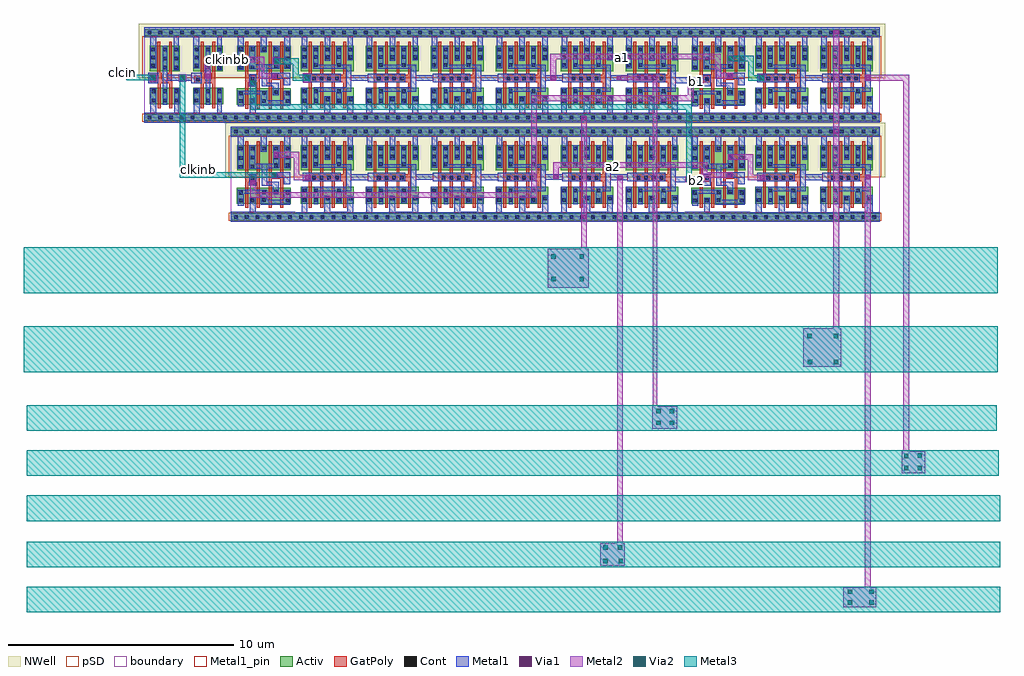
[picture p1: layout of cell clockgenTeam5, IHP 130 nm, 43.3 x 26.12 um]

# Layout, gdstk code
import gdstk
lib = gdstk.Library(unit=1e-6, precision=1e-09)
def R(c, l, rs):  # rectangles x0, y0, x1, y1
    for r in rs: c.add(gdstk.rectangle(r[:2], r[2:], *l))
def A(c, l, x, y, w, h, nx, ny, dx, dy):  # array of equal rectangles
    R(c, l, [(x+i*dx, y+j*dy, x+i*dx+w, y+j*dy+h) for i in range(nx) for j in range(ny)])
def P(c, l, *ps):  # polygons
    for p in ps: c.add(gdstk.Polygon(p, *l))
Activ = (1, 0)
GatPoly = (5, 0)
Cont = (6, 0)
Metal1 = (8, 0)
Metal1_pin = (8, 2)
Metal2 = (10, 0)
pSD = (14, 0)
Via1 = (19, 0)
Via2 = (29, 0)
Metal3 = (30, 0)
NWell = (31, 0)
boundary = (189, 4)

sg13g2_inv_2 = lib.new_cell('sg13g2_inv_2')
R(sg13g2_inv_2, Activ, [(0,-0.15,1.92,0.15), (0.265,0.59,1.59,1.33), (0.255,2.06,1.58,3.18), (0,3.63,1.92,3.93)])
P(sg13g2_inv_2, GatPoly, [(0.605,0.41),(0.605,1.52),(0.305,1.52),(0.305,1.85),(0.595,1.85),(0.595,3.36),(0.725,3.36),(0.725,1.985),(0.785,1.985),(0.785,1.67),(1.055,1.67),(1.055,1.985),(1.11,1.985),(1.11,3.36),(1.24,3.36),(1.24,1.585),(1.245,1.585),(1.245,0.41),(1.115,0.41),(1.115,1.52),(0.735,1.52),(0.735,0.41)])
A(sg13g2_inv_2, Cont, 0.84, 2.145, 0.16, 0.16, 1, 3, 0, 0.395)
A(sg13g2_inv_2, Cont, 1.35, 2.145, 0.16, 0.16, 1, 3, 0, 0.395)
R(sg13g2_inv_2, Cont, [(0.16,-0.08,0.32,0.08), (0.16,-0.08,0.32,0.08), (0.64,-0.08,0.8,0.08), (0.64,-0.08,0.8,0.08), (1.12,-0.08,1.28,0.08), (1.12,-0.08,1.28,0.08), (1.6,-0.08,1.76,0.08), (1.6,-0.08,1.76,0.08), (0.335,0.675,0.495,0.835), (0.845,0.675,1.005,0.835), (1.36,0.675,1.52,0.835), (0.335,1.09,0.495,1.25), (0.845,1.09,1.005,1.25), (1.36,1.09,1.52,1.25), (0.39,1.605,0.55,1.765), (0.325,2.235,0.485,2.395), (0.325,2.59,0.485,2.75), (0.325,2.935,0.485,3.095), (0.16,3.7,0.32,3.86), (0.16,3.7,0.32,3.86), (0.64,3.7,0.8,3.86), (0.64,3.7,0.8,3.86), (1.12,3.7,1.28,3.86), (1.12,3.7,1.28,3.86), (1.6,3.7,1.76,3.86), (1.6,3.7,1.76,3.86)])
R(sg13g2_inv_2, Metal1, [(0.825,0.57,1.02,3.18), (0.18,1.52,0.635,2)])
P(sg13g2_inv_2, Metal1, [(0,-0.22),(0,0.22),(0.285,0.22),(0.285,1.3),(0.545,1.3),(0.545,0.22),(1.34,0.22),(1.34,1.305),(1.54,1.305),(1.54,0.22),(1.92,0.22),(1.92,-0.22)],
  [(1.32,2.095),(1.32,3.56),(0.535,3.56),(0.535,2.185),(0.275,2.185),(0.275,3.56),(0,3.56),(0,4),(1.92,4),(1.92,3.56),(1.535,3.56),(1.535,2.095)])
R(sg13g2_inv_2, Metal1_pin, [(0,-0.22,1.92,0.22), (0.825,0.57,1.02,3.18), (0.18,1.52,0.635,2), (0,3.56,1.92,4)])
R(sg13g2_inv_2, pSD, [(-0.07,-0.18,1.99,0.18), (-0.07,1.76,1.99,3.6)])
R(sg13g2_inv_2, NWell, [(-0.24,1.75,2.16,4.17)])
R(sg13g2_inv_2, boundary, [(0,0,1.92,3.78)])
sg13g2_inv_2.add(gdstk.Label('A', (0.415,1.75), layer=8, texttype=25))
sg13g2_inv_2.add(gdstk.Label('Y', (0.925,1.855), layer=8, texttype=25))
sg13g2_inv_2.add(gdstk.Label('VDD', (0.935,3.785), layer=8, texttype=25))
sg13g2_inv_2.add(gdstk.Label('VSS', (0.89,0), layer=8, texttype=25))

sg13g2_nand2_2 = lib.new_cell('sg13g2_nand2_2')
R(sg13g2_nand2_2, Activ, [(0,-0.15,2.88,0.15), (0.285,0.575,2.67,1.295), (0.3,2.06,2.68,3.18), (0,3.63,2.88,3.93)])
P(sg13g2_nand2_2, GatPoly, [(1.69,0.395),(1.69,3.36),(1.82,3.36),(1.82,1.99),(2.2,1.99),(2.2,3.36),(2.33,3.36),(2.33,0.395),(2.2,0.395),(2.2,1.685),(1.82,1.685),(1.82,0.395)],
  [(0.66,0.395),(0.66,3.36),(0.79,3.36),(0.79,1.875),(1.17,1.875),(1.17,3.36),(1.3,3.36),(1.3,0.395),(1.17,0.395),(1.17,1.565),(0.79,1.565),(0.79,0.395)])
A(sg13g2_nand2_2, Cont, 1.6, -0.08, 0.16, 0.16, 3, 2, 0.48, 3.78)
A(sg13g2_nand2_2, Cont, 0.9, 2.15, 0.16, 0.16, 1, 3, 0, 0.4)
R(sg13g2_nand2_2, Cont, [(0.16,-0.08,0.32,0.08), (0.16,-0.08,0.32,0.08), (0.64,-0.08,0.8,0.08), (0.64,-0.08,0.8,0.08), (1.12,-0.08,1.28,0.08), (1.12,-0.08,1.28,0.08), (1.6,-0.08,1.76,0.08), (0.9,0.645,1.06,0.805), (0.38,0.65,0.54,0.81), (2.44,0.65,2.6,0.81), (1.41,0.66,1.57,0.82), (0.375,0.99,0.535,1.15), (2.44,0.99,2.6,1.15), (1.41,1.005,1.57,1.165), (1.93,1.05,2.09,1.21), (0.9,1.64,1.06,1.8), (1.93,1.76,2.09,1.92), (0.37,2.14,0.53,2.3), (1.93,2.21,2.09,2.37), (2.44,2.21,2.6,2.37), (0.37,2.54,0.53,2.7), (1.93,2.55,2.09,2.71), (2.44,2.55,2.6,2.71), (0.37,2.95,0.53,3.11), (1.41,2.95,1.57,3.11), (1.93,2.95,2.09,3.11), (2.44,2.95,2.6,3.11), (0.16,3.7,0.32,3.86), (0.16,3.7,0.32,3.86), (0.64,3.7,0.8,3.86), (0.64,3.7,0.8,3.86), (1.12,3.7,1.28,3.86), (1.12,3.7,1.28,3.86), (1.6,3.7,1.76,3.86)])
R(sg13g2_nand2_2, Metal1, [(0.82,1.39,1.15,1.92)])
P(sg13g2_nand2_2, Metal1, [(0,-0.22),(0,0.22),(0.85,0.22),(0.85,0.855),(1.11,0.855),(1.11,0.22),(2.88,0.22),(2.88,-0.22)],
  [(0.325,0.5),(0.325,1.2),(1.62,1.2),(1.62,0.76),(2.37,0.76),(2.37,1.2),(2.65,1.2),(2.65,0.53),(1.35,0.53),(1.35,1.035),(0.585,1.035),(0.585,0.5)],
  [(1.88,1),(1.88,1.39),(1.38,1.39),(1.38,2.14),(0.84,2.14),(0.84,3.18),(1.1,3.18),(1.1,2.36),(1.89,2.36),(1.89,3.18),(2.15,3.18),(2.15,2.16),(1.62,2.16),(1.62,1.55),(2.14,1.55),(2.14,1)],
  [(2.37,1.44),(2.37,1.73),(1.815,1.73),(1.815,1.98),(2.645,1.98),(2.645,1.44)],
  [(0.32,2.125),(0.32,3.56),(0,3.56),(0,4),(2.88,4),(2.88,3.56),(2.65,3.56),(2.65,2.16),(2.39,2.16),(2.39,3.56),(1.61,3.56),(1.61,2.9),(1.35,2.9),(1.35,3.56),(0.58,3.56),(0.58,2.125)])
R(sg13g2_nand2_2, Metal1_pin, [(0,-0.22,2.88,0.22), (0.82,1.39,1.15,1.92), (1.38,1.39,1.62,2.36), (1.815,1.73,2.645,1.98), (0,3.56,2.88,4)])
R(sg13g2_nand2_2, pSD, [(-0.07,-0.18,2.95,0.18), (-0.07,1.76,2.95,3.6)])
R(sg13g2_nand2_2, NWell, [(-0.24,1.75,3.12,4.17)])
R(sg13g2_nand2_2, boundary, [(0,0,2.88,3.78)])
sg13g2_nand2_2.add(gdstk.Label('VSS', (0.51,0), layer=8, texttype=25))
sg13g2_nand2_2.add(gdstk.Label('A', (2.01,1.84), layer=8, texttype=25))
sg13g2_nand2_2.add(gdstk.Label('VDD', (0.97,3.78), layer=8, texttype=25))
sg13g2_nand2_2.add(gdstk.Label('B', (0.98,1.655), layer=8, texttype=25))
sg13g2_nand2_2.add(gdstk.Label('Y', (1.48,2.105), layer=8, texttype=25))

sg13g2_inv_4 = lib.new_cell('sg13g2_inv_4')
R(sg13g2_inv_4, Activ, [(0,-0.15,2.88,0.15), (0.245,0.59,2.585,1.33), (0.245,2.06,2.585,3.18), (0,3.63,2.88,3.93)])
P(sg13g2_inv_4, GatPoly, [(0.585,0.41),(0.585,3.36),(0.715,3.36),(0.715,1.9),(1.095,1.9),(1.095,3.36),(1.225,3.36),(1.225,1.9),(1.605,1.9),(1.605,3.36),(1.735,3.36),(1.735,1.9),(2.115,1.9),(2.115,3.36),(2.245,3.36),(2.245,0.41),(2.115,0.41),(2.115,1.57),(1.735,1.57),(1.735,0.41),(1.605,0.41),(1.605,1.57),(1.225,1.57),(1.225,0.41),(1.095,0.41),(1.095,1.57),(0.715,1.57),(0.715,0.41)])
A(sg13g2_inv_4, Cont, 0.735, 1.655, 0.16, 0.16, 4, 1, 0.34, 0)
A(sg13g2_inv_4, Cont, 0.315, 2.945, 0.16, 0.16, 5, 1, 0.51, 0)
R(sg13g2_inv_4, Cont, [(0.16,-0.08,0.32,0.08), (0.16,-0.08,0.32,0.08), (0.64,-0.08,0.8,0.08), (0.64,-0.08,0.8,0.08), (1.12,-0.08,1.28,0.08), (1.12,-0.08,1.28,0.08), (1.6,-0.08,1.76,0.08), (1.6,-0.08,1.76,0.08), (2.08,-0.08,2.24,0.08), (2.08,-0.08,2.24,0.08), (2.56,-0.08,2.72,0.08), (2.56,-0.08,2.72,0.08), (0.315,0.665,0.475,0.825), (0.825,0.665,0.985,0.825), (1.845,0.665,2.005,0.825), (1.335,0.735,1.495,0.895), (2.355,0.735,2.515,0.895), (0.315,1.09,0.475,1.25), (0.825,1.09,0.985,1.25), (1.845,1.09,2.005,1.25), (0.315,2.255,0.475,2.415), (0.825,2.255,0.985,2.415), (1.845,2.255,2.005,2.415), (1.335,2.595,1.495,2.755), (2.355,2.595,2.515,2.755), (0.315,2.605,0.475,2.765), (0.825,2.605,0.985,2.765), (1.845,2.605,2.005,2.765), (0.16,3.7,0.32,3.86), (0.16,3.7,0.32,3.86), (0.64,3.7,0.8,3.86), (0.64,3.7,0.8,3.86), (1.12,3.7,1.28,3.86), (1.12,3.7,1.28,3.86), (1.6,3.7,1.76,3.86), (1.6,3.7,1.76,3.86), (2.08,3.7,2.24,3.86), (2.08,3.7,2.24,3.86), (2.56,3.7,2.72,3.86), (2.56,3.7,2.72,3.86)])
R(sg13g2_inv_4, Metal1, [(0.325,1.57,2,1.95)])
P(sg13g2_inv_4, Metal1, [(0.285,2.19),(0.285,3.56),(0,3.56),(0,4),(2.88,4),(2.88,3.56),(2.55,3.56),(2.55,2.54),(2.32,2.54),(2.32,3.56),(1.54,3.56),(1.54,2.53),(1.3,2.53),(1.3,3.56),(0.53,3.56),(0.53,2.19)],
  [(0,-0.21),(0,0.21),(0.27,0.21),(0.27,1.325),(0.52,1.325),(0.52,0.21),(1.28,0.21),(1.28,0.945),(1.55,0.945),(1.55,0.22),(2.305,0.22),(2.305,0.95),(2.565,0.95),(2.565,0.21),(2.88,0.21),(2.88,-0.21)],
  [(0.815,0.57),(0.815,1.34),(2.245,1.34),(2.245,2.17),(0.8,2.17),(0.8,3.18),(1.015,3.18),(1.015,2.34),(1.815,2.34),(1.815,3.175),(2.03,3.175),(2.03,2.34),(2.475,2.34),(2.475,1.145),(2.06,1.145),(2.06,0.595),(1.805,0.595),(1.805,1.145),(1.01,1.145),(1.01,0.57)])
R(sg13g2_inv_4, Metal1_pin, [(0,-0.21,2.88,0.21), (2.245,1.145,2.475,2.34), (0.325,1.57,2,1.95), (0,3.56,2.88,4)])
R(sg13g2_inv_4, pSD, [(-0.07,-0.18,2.95,0.18), (-0.07,1.76,2.95,3.6)])
R(sg13g2_inv_4, NWell, [(-0.24,1.75,3.12,4.17)])
R(sg13g2_inv_4, boundary, [(0,0,2.88,3.78)])
sg13g2_inv_4.add(gdstk.Label('VSS', (1.405,0.005), layer=8, texttype=25))
sg13g2_inv_4.add(gdstk.Label('Y', (2.36,1.755), layer=8, texttype=25))
sg13g2_inv_4.add(gdstk.Label('VDD', (1.925,3.8), layer=8, texttype=25))
sg13g2_inv_4.add(gdstk.Label('A', (1.12,1.76), layer=8, texttype=25))

clockgenteam5 = lib.new_cell('clockgenTeam5')
R(clockgenteam5, Metal2, [(10.945,0.035,11.245,0.31), (-7.43,0.215,-7.17,0.49), (-8.425,4.275,-8.14,4.525), (-6.015,4.445,-5.68,4.875), (-12.825,4.505,-12.5,4.835), (-11.525,4.505,-11.2,4.835), (14.195,4.535,14.495,4.81), (18.895,4.535,19.195,4.81), (7.905,4.568,9.7,4.768), (12.795,5.385,13.095,5.66)])
P(clockgenteam5, Metal2, [(-7.365,5.245),(-7.365,5.59),(-7.32,5.59),(-7.03,5.59),(-7.03,5.245)],
  [(20.545,-12.87),(20.545,-11.905),(20.62,-11.905),(20.62,4.55),(18.91,4.55),(18.91,4.8),(20.87,4.8),(20.87,-11.905),(21.595,-11.905),(21.595,-12.87)],
  [(17.95,-18.825),(17.95,-17.945),(18.915,-17.945),(18.915,0.365),(19.165,0.365),(19.165,-17.945),(19.425,-17.945),(19.425,-18.825)],
  [(16.175,-8.15),(16.175,-6.44),(17.515,-6.44),(17.515,6.785),(17.765,6.785),(17.765,-6.44),(17.87,-6.44),(17.87,-8.15)],
  [(9.48,-10.905),(9.48,-9.91),(9.508,-9.91),(9.508,4.765),(9.708,4.765),(9.708,-9.91),(10.585,-9.91),(10.585,-10.905)],
  [(7.175,-16.975),(7.175,-15.975),(7.925,-15.975),(7.925,0.33),(8.175,0.33),(8.175,-15.975),(8.245,-15.975),(8.245,-16.975)],
  [(4.83,-4.64),(4.83,-2.92),(6.325,-2.92),(6.325,-1.425),(6.575,-1.425),(6.575,-2.92),(6.66,-2.92),(6.66,-4.64)],
  [(-12.495,4.58),(-12.495,4.58),(-12.495,4.58),(-12.495,4.58)],
  [(-11.195,4.58),(-11.195,4.58),(-11.195,4.58),(-11.195,4.58)])
R(clockgenteam5, Via1, [(6.35,-1.607,6.54,-1.417), (-8.34,-0.075,-8.15,0.115), (11,0.08,11.19,0.27), (7.95,0.143,8.14,0.333), (-5.91,0.155,-5.72,0.345), (14.25,0.165,14.44,0.355), (5.1,0.175,5.29,0.365), (18.95,0.175,19.14,0.365), (-7.38,0.26,-7.19,0.45), (12.8,0.265,12.99,0.455), (12.85,1.065,13.04,1.255), (-7.31,1.155,-7.12,1.345), (17.55,2.193,17.74,2.383), (6.35,2.793,6.54,2.983), (-8.345,4.33,-8.155,4.52), (11.095,4.465,11.285,4.655), (7.9,4.568,8.09,4.758), (5,4.575,5.19,4.765), (18.95,4.575,19.14,4.765), (-12.77,4.58,-12.58,4.77), (-11.47,4.58,-11.28,4.77), (-5.945,4.58,-5.755,4.77), (14.25,4.58,14.44,4.77), (-10.325,4.655,-10.135,4.845), (-7.4,4.655,-7.21,4.845), (12.8,4.665,12.99,4.855), (-7.295,5.305,-7.105,5.495), (12.85,5.43,13.04,5.62), (17.55,6.593,17.74,6.783)])
P(clockgenteam5, Via1, [(-12.62,4.645),(-12.62,4.645),(-12.62,4.645),(-12.62,4.645)],
  [(-11.32,4.645),(-11.32,4.645),(-11.32,4.645),(-11.32,4.645)])
R(clockgenteam5, Via2, [(18.153,-18.705,18.343,-18.515), (19.103,-18.705,19.293,-18.515), (18.153,-18.23,18.343,-18.04), (19.103,-18.23,19.293,-18.04), (7.303,-16.87,7.493,-16.68), (7.978,-16.87,8.168,-16.68), (7.303,-16.27,7.493,-16.08), (7.953,-16.27,8.143,-16.08), (20.653,-12.735,20.843,-12.545), (21.253,-12.735,21.443,-12.545), (20.653,-12.205,20.843,-12.015), (21.253,-12.18,21.443,-11.99), (9.653,-10.735,9.843,-10.545), (10.253,-10.735,10.443,-10.545), (9.653,-10.205,9.843,-10.015), (10.253,-10.205,10.443,-10.015), (16.378,-8.03,16.568,-7.84), (17.528,-8.03,17.718,-7.84), (16.353,-6.88,16.543,-6.69), (17.528,-6.88,17.718,-6.69), (5.003,-4.355,5.193,-4.165), (6.253,-4.355,6.443,-4.165), (5.003,-3.355,5.193,-3.165), (6.253,-3.355,6.443,-3.165), (-7.38,0.26,-7.19,0.45), (-8.345,4.33,-8.155,4.52), (-12.77,4.58,-12.58,4.77), (-11.47,4.58,-11.28,4.77), (-5.945,4.58,-5.755,4.77), (14.25,4.58,14.44,4.77), (-7.295,5.305,-7.105,5.495), (12.85,5.43,13.04,5.62)])
P(clockgenteam5, Via2, [(11,0.08),(11,0.27),(11.19,0.27),(11.19,0.165),(11.19,0.08)])
R(clockgenteam5, Metal3, [(-18.4,-8.385,24.805,-6.35), (-18.4,-4.885,24.805,-2.85)])
P(clockgenteam5, Metal3, [(-18.285,-10.995),(-18.285,-9.85),(24.765,-9.85),(24.765,-10.32),(24.765,-10.995)],
  [(-18.285,-12.995),(-18.285,-11.85),(24.85,-11.85),(24.85,-12.41),(24.85,-12.995)],
  [(-18.285,-19.05),(-18.285,-17.905),(24.905,-17.905),(24.905,-18.38),(24.905,-19.05)],
  [(-18.285,-17.05),(-18.285,-15.905),(24.905,-15.905),(24.905,-16.38),(24.905,-17.05)],
  [(-18.285,-15.005),(-18.285,-13.86),(24.905,-13.86),(24.905,-14.335),(24.905,-15.005)])
clockgenteam5.add(gdstk.FlexPath([(17.205,0.26),(16.145,0.26)], 0.25, ends="flush", simple_path=True, layer=8, datatype=0))  # Metal1
clockgenteam5.add(gdstk.FlexPath([(-10.77,4.675),(-12.175,4.675),(-12.175,4.675)], 0.25, ends="flush", simple_path=True, layer=8, datatype=0))  # Metal1
clockgenteam5.add(gdstk.FlexPath([(5.71,0.27),(4.63,0.27)], 0.25, ends="flush", simple_path=True, layer=8, datatype=0))  # Metal1
clockgenteam5.add(gdstk.FlexPath([(2.83,0.26),(1.755,0.26)], 0.25, ends="flush", simple_path=True, layer=8, datatype=0))  # Metal1
clockgenteam5.add(gdstk.FlexPath([(11.945,0.165),(10.395,0.165)], 0.25, ends="flush", simple_path=True, layer=8, datatype=0))  # Metal1
clockgenteam5.add(gdstk.FlexPath([(0,0.27),(-1.115,0.27)], 0.25, ends="flush", simple_path=True, layer=8, datatype=0))  # Metal1
clockgenteam5.add(gdstk.FlexPath([(-2.95,0.255),(-4.045,0.255)], 0.25, ends="flush", simple_path=True, layer=8, datatype=0))  # Metal1
clockgenteam5.add(gdstk.FlexPath([(8.56,0.26),(7.52,0.26)], 0.25, ends="flush", simple_path=True, layer=8, datatype=0))  # Metal1
clockgenteam5.add(gdstk.FlexPath([(17.215,4.655),(16.125,4.655)], 0.25, ends="flush", simple_path=True, layer=8, datatype=0))  # Metal1
clockgenteam5.add(gdstk.FlexPath([(10.345,4.56),(11.975,4.56)], 0.25, ends="flush", simple_path=True, layer=8, datatype=0))  # Metal1
clockgenteam5.add(gdstk.FlexPath([(-3,4.665),(-4.1,4.665)], 0.25, ends="flush", simple_path=True, layer=8, datatype=0))  # Metal1
clockgenteam5.add(gdstk.FlexPath([(-0.125,4.665),(-1.225,4.665)], 0.25, ends="flush", simple_path=True, layer=8, datatype=0))  # Metal1
clockgenteam5.add(gdstk.FlexPath([(2.775,4.665),(1.675,4.665)], 0.25, ends="flush", simple_path=True, layer=8, datatype=0))  # Metal1
clockgenteam5.add(gdstk.FlexPath([(5.675,4.665),(4.575,4.665)], 0.25, ends="flush", simple_path=True, layer=8, datatype=0))  # Metal1
clockgenteam5.add(gdstk.FlexPath([(8.55,4.665),(7.45,4.665)], 0.25, ends="flush", simple_path=True, layer=8, datatype=0))  # Metal1
clockgenteam5.add(gdstk.FlexPath([(12.835,1.15),(13.84,1.15),(13.84,0.245),(14.205,0.245),(14.495,0.245)], 0.25, ends="flush", simple_path=True, layer=10, datatype=0))  # Metal2
clockgenteam5.add(gdstk.FlexPath([(-8.245,0.12),(-8.245,-0.655)], 0.25, ends="flush", simple_path=True, layer=10, datatype=0))  # Metal2
clockgenteam5.add(gdstk.FlexPath([(-7.325,1.255),(-6.31,1.255),(-6.31,0.245),(-5.67,0.245)], 0.25, ends="flush", simple_path=True, layer=10, datatype=0))  # Metal2
clockgenteam5.add(gdstk.FlexPath([(-8.37,-0.53),(-7.425,-0.53),(-6.89,-0.53),(4.235,-0.53),(4.235,3.76),(11.185,3.76),(11.185,4.67)], 0.25, ends="flush", simple_path=True, layer=10, datatype=0))  # Metal2
clockgenteam5.add(gdstk.FlexPath([(6.44,2.975),(6.44,-1.59)], 0.25, ends="flush", simple_path=True, layer=10, datatype=0))  # Metal2
clockgenteam5.add(gdstk.FlexPath([(5.2,0.165),(5.2,0.795),(11.78,0.795),(11.78,0.355),(13.04,0.355)], 0.25, ends="flush", simple_path=True, layer=10, datatype=0))  # Metal2
clockgenteam5.add(gdstk.FlexPath([(-7.19,4.75),(-7.86,4.75),(-7.86,5.485),(-10.245,5.485),(-10.245,4.625)], 0.25, ends="flush", simple_path=True, layer=10, datatype=0))  # Metal2
clockgenteam5.add(gdstk.FlexPath([(5.08,4.535),(5.08,5.615),(12.4,5.615),(12.4,4.76),(12.685,4.76),(13.04,4.76)], 0.25, ends="flush", simple_path=True, layer=10, datatype=0))  # Metal2
clockgenteam5.add(gdstk.FlexPath([(-12.555,4.68),(-13.86,4.68)], 0.25, ends="flush", simple_path=True, layer=30, datatype=0))  # Metal3
clockgenteam5.add(gdstk.FlexPath([(11.1,0.06),(11.1,3.375),(-8.23,3.375),(-8.23,4.54)], 0.25, ends="flush", simple_path=True, layer=30, datatype=0))  # Metal3
clockgenteam5.add(gdstk.FlexPath([(12.825,5.525),(13.86,5.525),(13.86,4.665),(14.455,4.665)], 0.25, ends="flush", simple_path=True, layer=30, datatype=0))  # Metal3
clockgenteam5.add(gdstk.FlexPath([(-7.3,5.405),(-6.34,5.405),(-6.34,4.67),(-5.7,4.67)], 0.25, ends="flush", simple_path=True, layer=30, datatype=0))  # Metal3
clockgenteam5.add(gdstk.FlexPath([(-11.375,4.8),(-11.375,0.355),(-7.185,0.355)], 0.25, ends="flush", simple_path=True, layer=30, datatype=0))  # Metal3
clockgenteam5.add(gdstk.Reference(sg13g2_inv_2, (-13.075,2.905)))
clockgenteam5.add(gdstk.Reference(sg13g2_inv_2, (-11.155,2.905)))
clockgenteam5.add(gdstk.Reference(sg13g2_nand2_2, (-9.235,-1.5)))
clockgenteam5.add(gdstk.Reference(sg13g2_nand2_2, (10.925,-1.5)))
clockgenteam5.add(gdstk.Reference(sg13g2_nand2_2, (-9.235,2.905)))
clockgenteam5.add(gdstk.Reference(sg13g2_nand2_2, (10.925,2.905)))
clockgenteam5.add(gdstk.Reference(sg13g2_inv_4, (-6.355,-1.5)))
clockgenteam5.add(gdstk.Reference(sg13g2_inv_4, (-3.475,-1.5)))
clockgenteam5.add(gdstk.Reference(sg13g2_inv_4, (-0.595,-1.5)))
clockgenteam5.add(gdstk.Reference(sg13g2_inv_4, (2.285,-1.5)))
clockgenteam5.add(gdstk.Reference(sg13g2_inv_4, (5.165,-1.5)))
clockgenteam5.add(gdstk.Reference(sg13g2_inv_4, (8.045,-1.5)))
clockgenteam5.add(gdstk.Reference(sg13g2_inv_4, (13.805,-1.5)))
clockgenteam5.add(gdstk.Reference(sg13g2_inv_4, (16.685,-1.5)))
clockgenteam5.add(gdstk.Reference(sg13g2_inv_4, (-6.355,2.905)))
clockgenteam5.add(gdstk.Reference(sg13g2_inv_4, (-3.475,2.905)))
clockgenteam5.add(gdstk.Reference(sg13g2_inv_4, (-0.595,2.905)))
clockgenteam5.add(gdstk.Reference(sg13g2_inv_4, (2.285,2.905)))
clockgenteam5.add(gdstk.Reference(sg13g2_inv_4, (5.165,2.905)))
clockgenteam5.add(gdstk.Reference(sg13g2_inv_4, (8.045,2.905)))
clockgenteam5.add(gdstk.Reference(sg13g2_inv_4, (13.805,2.905)))
clockgenteam5.add(gdstk.Reference(sg13g2_inv_4, (16.685,2.905)))
clockgenteam5.add(gdstk.Label('a1', (8.17,5.58), layer=30, texttype=0))
clockgenteam5.add(gdstk.Label('p2', (-20.145,-18.54), layer=30, texttype=0))
clockgenteam5.add(gdstk.Label('VSS', (-20.02,-2.365), layer=30, texttype=0))
clockgenteam5.add(gdstk.Label('p1e', (-20.145,-10.145), layer=30, texttype=0))
clockgenteam5.add(gdstk.Label('clkinb', (-10.645,0.585), layer=30, texttype=0))
clockgenteam5.add(gdstk.Label('b1', (11.455,4.515), layer=30, texttype=0))
clockgenteam5.add(gdstk.Label('p2e', (-20.145,-16.79), layer=30, texttype=0))
clockgenteam5.add(gdstk.Label('VDD', (-20.265,-6.345), layer=30, texttype=0))
clockgenteam5.add(gdstk.Label('p1', (-20.145,-12.645), layer=30, texttype=0))
clockgenteam5.add(gdstk.Label('res', (-20.265,-14.555), layer=30, texttype=0))
clockgenteam5.add(gdstk.Label('a2', (7.735,0.745), layer=30, texttype=0))
clockgenteam5.add(gdstk.Label('b2', (11.44,0.11), layer=30, texttype=0))
clockgenteam5.add(gdstk.Label('clcin', (-14.02,4.89), layer=30, texttype=0))
clockgenteam5.add(gdstk.Label('clkinbb', (-9.375,5.465), layer=30, texttype=0))

lib.write_gds('clockgenTeam5.gds')
